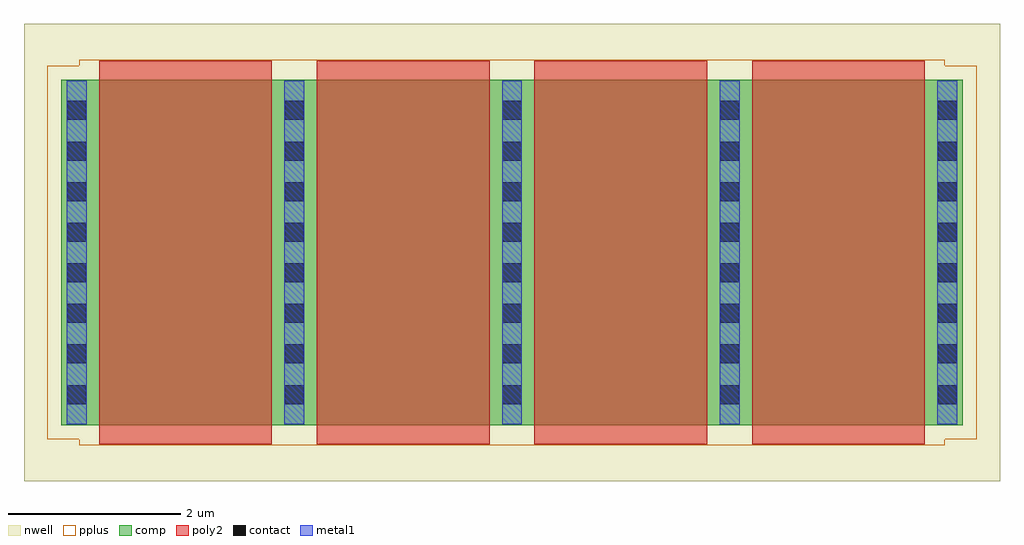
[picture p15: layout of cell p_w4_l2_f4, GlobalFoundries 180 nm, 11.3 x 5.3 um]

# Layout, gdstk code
import gdstk
lib = gdstk.Library(unit=1e-6, precision=1e-09)
def R(c, l, rs):  # rectangles x0, y0, x1, y1
    for r in rs: c.add(gdstk.rectangle(r[:2], r[2:], *l))
def A(c, l, x, y, w, h, nx, ny, dx, dy):  # array of equal rectangles
    R(c, l, [(x+i*dx, y+j*dy, x+i*dx+w, y+j*dy+h) for i in range(nx) for j in range(ny)])
nwell = (21, 0)
comp = (22, 0)
poly2 = (30, 0)
pplus = (31, 0)
contact = (33, 0)
metal1 = (34, 0)

p_w4_l2_f4 = lib.new_cell('p_w4_l2_f4')
R(p_w4_l2_f4, nwell, [(-5.65,-2.65,5.65,2.65)])
R(p_w4_l2_f4, comp, [(-5.22,-2,5.22,2)])
A(p_w4_l2_f4, poly2, -4.78, -2.22, 2, 4.44, 4, 1, 2.52, 0)
R(p_w4_l2_f4, pplus, [(-5.01,-2.23,5.01,-2.16), (-5.38,-2.16,5.38,2.16), (-5.01,2.16,5.01,2.23)])
A(p_w4_l2_f4, contact, -5.15, -1.755, 0.22, 0.22, 5, 8, 2.52, 0.47)
A(p_w4_l2_f4, metal1, -5.155, -1.99, 0.23, 3.98, 5, 1, 2.52, 0)

lib.write_gds('p_w4_l2_f4.gds')
